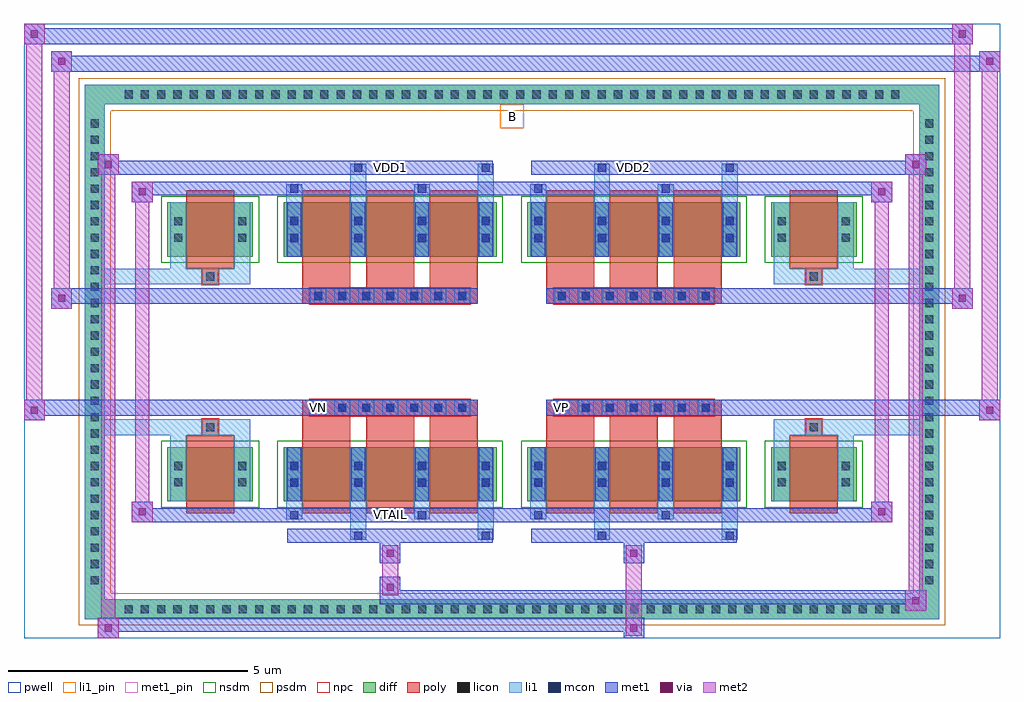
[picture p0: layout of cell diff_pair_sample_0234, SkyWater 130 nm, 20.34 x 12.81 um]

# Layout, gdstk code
import gdstk
lib = gdstk.Library(unit=1e-6, precision=5e-09)
def R(c, l, rs):  # rectangles x0, y0, x1, y1
    for r in rs: c.add(gdstk.rectangle(r[:2], r[2:], *l))
def A(c, l, x, y, w, h, nx, ny, dx, dy):  # array of equal rectangles
    R(c, l, [(x+i*dx, y+j*dy, x+i*dx+w, y+j*dy+h) for i in range(nx) for j in range(ny)])
def P(c, l, *ps):  # polygons
    for p in ps: c.add(gdstk.Polygon(p, *l))
pwell = (64, 44)
diff = (65, 20)
poly = (66, 20)
licon = (66, 44)
li1_pin = (67, 16)
li1 = (67, 20)
mcon = (67, 44)
met1_pin = (68, 16)
met1 = (68, 20)
via = (68, 44)
met2 = (69, 20)
nsdm = (93, 44)
psdm = (94, 20)
npc = (95, 20)

diff_pair_sample_0234 = lib.new_cell('diff_pair_sample_0234')
R(diff_pair_sample_0234, pwell, [(-10.17,-5.97,10.17,6.84), (-7.49,-4.16,-0.01,-0.8), (0.01,-4.16,7.49,-0.8), (-7.49,0.8,-0.01,4.16), (0.01,0.8,7.49,4.16)])
A(diff_pair_sample_0234, diff, -8.195, -5.57, 0.41, 0.41, 48, 2, 0.34, 10.73)
A(diff_pair_sample_0234, diff, -8.9, -4.965, 0.41, 0.41, 1, 29, 0, 0.34)
A(diff_pair_sample_0234, diff, 8.49, -4.965, 0.41, 0.41, 1, 29, 0, 0.34)
R(diff_pair_sample_0234, diff, [(-8.195,-5.57,8.195,-5.16), (-8.9,-4.965,-8.49,4.965), (8.49,-4.965,8.9,4.965), (-7.18,-3.115,-5.4,-1.985), (-4.76,-3.115,-0.32,-1.985), (0.32,-3.115,4.76,-1.985), (5.4,-3.115,7.18,-1.985), (-7.18,1.985,-5.4,3.115), (-4.76,1.985,-0.32,3.115), (0.32,1.985,4.76,3.115), (5.4,1.985,7.18,3.115), (-8.195,5.16,8.195,5.57)])
P(diff_pair_sample_0234, diff, [(8.9,5.57),(-8.9,5.57),(-8.9,-5.16),(-8.49,-5.16),(-8.49,5.16),(8.49,5.16),(8.49,-5.16),(-8.49,-5.16),(-8.9,-5.16),(-8.9,-5.57),(8.9,-5.57)])
A(diff_pair_sample_0234, poly, -4.37, -3.365, 1, 1.63, 3, 2, 1.33, 5.1)
A(diff_pair_sample_0234, poly, 0.71, -3.365, 1, 1.63, 3, 2, 1.33, 5.1)
A(diff_pair_sample_0234, poly, -4.37, -1.735, 1, 0.405, 3, 2, 1.33, 3.065)
A(diff_pair_sample_0234, poly, 0.71, -1.735, 1, 0.405, 3, 2, 1.33, 3.065)
A(diff_pair_sample_0234, poly, -4.205, -1.33, 0.33, 0.33, 7, 2, 0.5, 2.33)
A(diff_pair_sample_0234, poly, 0.875, -1.33, 0.33, 0.33, 7, 2, 0.5, 2.33)
R(diff_pair_sample_0234, poly, [(-6.79,-3.365,-5.79,-1.735), (5.79,-3.365,6.79,-1.735), (-6.455,-1.735,-6.125,-1.405), (-6.455,-1.735,-6.125,-1.405), (6.125,-1.735,6.455,-1.405), (6.125,-1.735,6.455,-1.405), (-4.37,-1.33,-0.71,-1), (0.71,-1.33,4.37,-1), (-4.37,1,-0.71,1.33), (0.71,1,4.37,1.33), (-6.455,1.405,-6.125,1.735), (-6.455,1.405,-6.125,1.735), (6.125,1.405,6.455,1.735), (6.125,1.405,6.455,1.735), (-6.79,1.735,-5.79,3.365), (5.79,1.735,6.79,3.365)])
A(diff_pair_sample_0234, licon, -8.075, -5.45, 0.17, 0.17, 48, 2, 0.34, 10.73)
A(diff_pair_sample_0234, licon, -8.78, -4.845, 0.17, 0.17, 1, 29, 0, 0.34)
A(diff_pair_sample_0234, licon, 8.61, -4.845, 0.17, 0.17, 1, 29, 0, 0.34)
A(diff_pair_sample_0234, licon, -4.62, -2.805, 0.17, 0.17, 4, 2, 1.33, 0.34)
A(diff_pair_sample_0234, licon, 0.46, -2.805, 0.17, 0.17, 4, 2, 1.33, 0.34)
A(diff_pair_sample_0234, licon, -4.125, -1.25, 0.17, 0.17, 7, 2, 0.5, 2.33)
A(diff_pair_sample_0234, licon, 0.955, -1.25, 0.17, 0.17, 7, 2, 0.5, 2.33)
A(diff_pair_sample_0234, licon, -4.62, 2.295, 0.17, 0.17, 4, 2, 1.33, 0.34)
A(diff_pair_sample_0234, licon, 0.46, 2.295, 0.17, 0.17, 4, 2, 1.33, 0.34)
R(diff_pair_sample_0234, licon, [(-7.04,-2.805,-6.87,-2.635), (-5.71,-2.805,-5.54,-2.635), (5.54,-2.805,5.71,-2.635), (6.87,-2.805,7.04,-2.635), (-7.04,-2.465,-6.87,-2.295), (-5.71,-2.465,-5.54,-2.295), (5.54,-2.465,5.71,-2.295), (6.87,-2.465,7.04,-2.295), (-6.375,-1.655,-6.205,-1.485), (6.205,-1.655,6.375,-1.485), (-6.375,1.485,-6.205,1.655), (6.205,1.485,6.375,1.655), (-7.04,2.295,-6.87,2.465), (-5.71,2.295,-5.54,2.465), (5.54,2.295,5.71,2.465), (6.87,2.295,7.04,2.465), (-7.04,2.635,-6.87,2.805), (-5.71,2.635,-5.54,2.805), (5.54,2.635,5.71,2.805), (6.87,2.635,7.04,2.805)])
R(diff_pair_sample_0234, li1_pin, [(-0.25,4.66,0.25,5.16)])
A(diff_pair_sample_0234, li1, -8.155, -5.53, 0.33, 0.33, 48, 2, 0.34, 10.73)
A(diff_pair_sample_0234, li1, -8.86, -4.925, 0.33, 0.33, 1, 29, 0, 0.34)
A(diff_pair_sample_0234, li1, 8.53, -4.925, 0.33, 0.33, 1, 29, 0, 0.34)
A(diff_pair_sample_0234, li1, -4.7, -3.115, 0.33, 1.13, 4, 2, 1.33, 5.1)
A(diff_pair_sample_0234, li1, 0.38, -3.115, 0.33, 1.13, 4, 2, 1.33, 5.1)
A(diff_pair_sample_0234, li1, -4.7, -2.885, 0.33, 0.33, 4, 2, 1.33, 0.34)
A(diff_pair_sample_0234, li1, 0.38, -2.885, 0.33, 0.33, 4, 2, 1.33, 0.34)
A(diff_pair_sample_0234, li1, -4.62, -2.815, 0.17, 0.17, 4, 2, 1.33, 0.36)
A(diff_pair_sample_0234, li1, -4.62, -2.815, 0.17, 0.53, 4, 2, 1.33, 5.1)
A(diff_pair_sample_0234, li1, 0.46, -2.815, 0.17, 0.17, 4, 2, 1.33, 0.36)
A(diff_pair_sample_0234, li1, 0.46, -2.815, 0.17, 0.53, 4, 2, 1.33, 5.1)
A(diff_pair_sample_0234, li1, -4.205, -1.33, 0.33, 0.33, 7, 2, 0.5, 2.33)
A(diff_pair_sample_0234, li1, 0.875, -1.33, 0.33, 0.33, 7, 2, 0.5, 2.33)
A(diff_pair_sample_0234, li1, -4.7, 2.215, 0.33, 0.33, 4, 2, 1.33, 0.34)
A(diff_pair_sample_0234, li1, 0.38, 2.215, 0.33, 0.33, 4, 2, 1.33, 0.34)
A(diff_pair_sample_0234, li1, -4.62, 2.285, 0.17, 0.17, 4, 2, 1.33, 0.36)
A(diff_pair_sample_0234, li1, 0.46, 2.285, 0.17, 0.17, 4, 2, 1.33, 0.36)
R(diff_pair_sample_0234, li1, [(-8.9,-5.57,-8.49,-5.16), (-8.9,-5.57,-8.49,-5.16), (-8.49,-5.57,8.49,-5.16), (8.49,-5.57,8.9,-5.16), (8.49,-5.57,8.9,-5.16), (-8.9,-5.16,-8.49,5.16), (8.49,-5.16,8.9,5.16), (-3.37,-3.92,-3.04,-3.115), (-3.29,-3.92,-3.12,-3.75), (-0.71,-3.92,-0.38,-3.115), (-0.63,-3.92,-0.46,-3.75), (1.71,-3.92,2.04,-3.115), (1.79,-3.92,1.96,-3.75), (4.37,-3.92,4.7,-3.115), (4.45,-3.92,4.62,-3.75), (-4.7,-3.49,-4.37,-3.115), (-4.62,-3.49,-4.45,-3.32), (-2.04,-3.49,-1.71,-3.115), (-1.96,-3.49,-1.79,-3.32), (0.38,-3.49,0.71,-3.115), (0.46,-3.49,0.63,-3.32), (3.04,-3.49,3.37,-3.115), (3.12,-3.49,3.29,-3.32), (-7.12,-3.115,-6.79,-1.985), (-5.79,-3.115,-5.46,-1.985), (5.46,-3.115,5.79,-1.985), (6.79,-3.115,7.12,-1.985), (-7.12,-2.885,-6.79,-2.555), (-5.79,-2.885,-5.46,-2.555), (5.46,-2.885,5.79,-2.555), (6.79,-2.885,7.12,-2.555), (-7.12,-2.545,-6.79,-2.215), (-5.79,-2.545,-5.46,-2.215), (5.46,-2.545,5.79,-2.215), (6.79,-2.545,7.12,-2.215), (-7.12,-1.985,-6.79,-1.405), (-5.79,-1.985,-5.46,-1.405), (5.46,-1.985,5.79,-1.405), (6.79,-1.985,7.12,-1.405), (-8.9,-1.735,-6.455,-1.405), (-7.12,-1.735,-6.455,-1.405), (-6.455,-1.735,-6.125,-1.405), (-6.125,-1.735,-5.46,-1.405), (5.46,-1.735,6.125,-1.405), (6.125,-1.735,6.455,-1.405), (6.125,-1.735,8.9,-1.405), (6.455,-1.735,7.12,-1.405), (-8.9,1.405,-6.455,1.735), (-7.12,1.405,-6.455,1.735), (-7.12,1.405,-6.79,1.985), (-6.455,1.405,-6.125,1.735), (-6.125,1.405,-5.46,1.735), (-5.79,1.405,-5.46,1.985), (5.46,1.405,6.125,1.735), (5.46,1.405,5.79,1.985), (6.125,1.405,6.455,1.735), (6.125,1.405,8.9,1.735), (6.455,1.405,7.12,1.735), (6.79,1.405,7.12,1.985), (-7.12,1.985,-6.79,3.115), (-5.79,1.985,-5.46,3.115), (5.46,1.985,5.79,3.115), (6.79,1.985,7.12,3.115), (-7.12,2.215,-6.79,2.545), (-5.79,2.215,-5.46,2.545), (5.46,2.215,5.79,2.545), (6.79,2.215,7.12,2.545), (-7.12,2.555,-6.79,2.885), (-5.79,2.555,-5.46,2.885), (5.46,2.555,5.79,2.885), (6.79,2.555,7.12,2.885), (-4.7,3.115,-4.37,3.49), (-3.37,3.115,-3.04,3.92), (-2.04,3.115,-1.71,3.49), (-0.71,3.115,-0.38,3.92), (0.38,3.115,0.71,3.49), (1.71,3.115,2.04,3.92), (3.04,3.115,3.37,3.49), (4.37,3.115,4.7,3.92), (-4.62,3.32,-4.45,3.49), (-1.96,3.32,-1.79,3.49), (0.46,3.32,0.63,3.49), (3.12,3.32,3.29,3.49), (-3.29,3.75,-3.12,3.92), (-0.63,3.75,-0.46,3.92), (1.79,3.75,1.96,3.92), (4.45,3.75,4.62,3.92), (-8.9,5.16,-8.49,5.57), (-8.9,5.16,-8.49,5.57), (-8.49,5.16,8.49,5.57), (8.49,5.16,8.9,5.57), (8.49,5.16,8.9,5.57)])
A(diff_pair_sample_0234, mcon, -4.62, -2.815, 0.17, 0.17, 4, 2, 1.33, 0.36)
A(diff_pair_sample_0234, mcon, 0.46, -2.815, 0.17, 0.17, 4, 2, 1.33, 0.36)
A(diff_pair_sample_0234, mcon, -4.125, -1.25, 0.17, 0.17, 7, 2, 0.5, 2.33)
A(diff_pair_sample_0234, mcon, 0.955, -1.25, 0.17, 0.17, 7, 2, 0.5, 2.33)
A(diff_pair_sample_0234, mcon, -4.62, 2.285, 0.17, 0.17, 4, 2, 1.33, 0.36)
A(diff_pair_sample_0234, mcon, 0.46, 2.285, 0.17, 0.17, 4, 2, 1.33, 0.36)
R(diff_pair_sample_0234, mcon, [(-3.29,-3.92,-3.12,-3.75), (-0.63,-3.92,-0.46,-3.75), (1.79,-3.92,1.96,-3.75), (4.45,-3.92,4.62,-3.75), (-4.62,-3.49,-4.45,-3.32), (-1.96,-3.49,-1.79,-3.32), (0.46,-3.49,0.63,-3.32), (3.12,-3.49,3.29,-3.32), (-4.62,3.32,-4.45,3.49), (-1.96,3.32,-1.79,3.49), (0.46,3.32,0.63,3.49), (3.12,3.32,3.29,3.49), (-3.29,3.75,-3.12,3.92), (-0.63,3.75,-0.46,3.92), (1.79,3.75,1.96,3.92), (4.45,3.75,4.62,3.92)])
R(diff_pair_sample_0234, met1_pin, [(-2.675,-3.53,-2.405,-3.26), (-4.175,-1.29,-3.905,-1.02), (0.905,-1.29,1.175,-1.02), (-2.675,3.71,-2.405,3.98), (2.405,3.71,2.675,3.98)])
A(diff_pair_sample_0234, met1, -4.68, -3.115, 0.29, 1.13, 4, 2, 1.33, 5.1)
A(diff_pair_sample_0234, met1, 0.4, -3.115, 0.29, 1.13, 4, 2, 1.33, 5.1)
A(diff_pair_sample_0234, met1, -4.68, -2.875, 0.29, 0.29, 4, 2, 1.33, 0.36)
A(diff_pair_sample_0234, met1, 0.4, -2.875, 0.29, 0.29, 4, 2, 1.33, 0.36)
A(diff_pair_sample_0234, met1, -4.185, -1.31, 0.29, 0.29, 7, 2, 0.5, 2.33)
A(diff_pair_sample_0234, met1, 0.895, -1.31, 0.29, 0.29, 7, 2, 0.5, 2.33)
A(diff_pair_sample_0234, met1, -4.68, 2.225, 0.29, 0.29, 4, 2, 1.33, 0.36)
A(diff_pair_sample_0234, met1, 0.4, 2.225, 0.29, 0.29, 4, 2, 1.33, 0.36)
R(diff_pair_sample_0234, met1, [(-8.63,-5.97,-8.2,-5.54), (2.325,-5.97,2.755,-5.54), (-8.63,-5.83,2.755,-5.54), (8.2,-5.4,8.63,-4.97), (-2.755,-5.26,8.63,-4.97), (-2.755,-5.12,-2.325,-4.69), (-2.755,-4.41,-2.325,-3.98), (2.325,-4.41,2.755,-3.98), (-4.68,-3.98,-0.4,-3.69), (-3.35,-3.98,-3.06,-3.69), (-0.69,-3.98,-0.4,-3.69), (0.4,-3.98,4.68,-3.69), (1.73,-3.98,2.02,-3.69), (4.39,-3.98,4.68,-3.69), (-7.92,-3.55,-7.49,-3.12), (-7.92,-3.55,-4.68,-3.26), (-4.68,-3.55,-4.39,-3.26), (-4.68,-3.55,-0.4,-3.26), (-2.02,-3.55,-1.73,-3.26), (-0.4,-3.55,0.4,-3.26), (0.4,-3.55,0.69,-3.26), (0.4,-3.55,4.68,-3.26), (3.06,-3.55,3.35,-3.26), (4.68,-3.55,7.92,-3.26), (7.49,-3.55,7.92,-3.12), (-10.17,-1.43,-9.74,-1), (9.74,-1.43,10.17,-1), (-10.17,-1.33,-0.71,-1), (-4.37,-1.33,-0.71,-1), (0.71,-1.33,4.37,-1), (0.71,-1.33,10.17,-1), (-9.6,0.9,-9.17,1.33), (9.17,0.9,9.6,1.33), (-9.6,1,-4.37,1.33), (-4.37,1,-0.71,1.33), (0.71,1,4.37,1.33), (4.37,1,9.6,1.33), (-7.92,3.12,-7.49,3.55), (7.49,3.12,7.92,3.55), (-7.92,3.26,-4.68,3.55), (-4.68,3.26,-4.39,3.55), (-4.68,3.26,-0.4,3.55), (-2.02,3.26,-1.73,3.55), (-0.4,3.26,0.4,3.55), (0.4,3.26,0.69,3.55), (0.4,3.26,4.68,3.55), (3.06,3.26,3.35,3.55), (4.68,3.26,7.92,3.55), (-8.63,3.69,-8.2,4.12), (-8.63,3.69,-4.68,3.98), (-4.68,3.69,-0.4,3.98), (-3.35,3.69,-3.06,3.98), (-0.69,3.69,-0.4,3.98), (0.4,3.69,4.68,3.98), (1.73,3.69,2.02,3.98), (4.39,3.69,4.68,3.98), (4.68,3.69,8.63,3.98), (8.2,3.69,8.63,4.12), (-9.6,5.84,-9.17,6.27), (-9.6,5.84,-7.49,6.17), (-7.49,5.84,7.49,6.17), (7.49,5.84,10.17,6.17), (9.74,5.84,10.17,6.27), (-10.17,6.41,-9.74,6.84), (-10.17,6.41,-7.49,6.74), (-7.49,6.41,7.49,6.74), (7.49,6.41,9.6,6.74), (9.17,6.41,9.6,6.84)])
R(diff_pair_sample_0234, via, [(-8.49,-5.83,-8.34,-5.68), (2.465,-5.83,2.615,-5.68), (8.34,-5.26,8.49,-5.11), (-2.615,-4.98,-2.465,-4.83), (-2.615,-4.27,-2.465,-4.12), (2.465,-4.27,2.615,-4.12), (-7.78,-3.41,-7.63,-3.26), (7.63,-3.41,7.78,-3.26), (-10.03,-1.29,-9.88,-1.14), (9.88,-1.29,10.03,-1.14), (-9.46,1.04,-9.31,1.19), (9.31,1.04,9.46,1.19), (-7.78,3.26,-7.63,3.41), (7.63,3.26,7.78,3.41), (-8.49,3.83,-8.34,3.98), (8.34,3.83,8.49,3.98), (-9.46,5.98,-9.31,6.13), (9.88,5.98,10.03,6.13), (-10.03,6.55,-9.88,6.7), (9.31,6.55,9.46,6.7)])
R(diff_pair_sample_0234, met2, [(-8.63,-5.97,-8.2,-5.54), (-8.56,-5.97,-8.27,4.12), (-8.27,-5.97,-8.2,-5.54), (-8.58,-5.92,-8.25,-5.59), (2.375,-5.92,2.705,-5.59), (2.375,-5.59,2.705,-4.36), (8.2,-5.4,8.63,-4.97), (8.27,-5.4,8.56,4.12), (8.56,-5.4,8.63,-4.97), (8.25,-5.35,8.58,-5.02), (-2.705,-5.07,-2.375,-4.74), (-2.705,-4.74,-2.375,-4.36), (-2.705,-4.36,-2.375,-4.03), (2.375,-4.36,2.705,-4.03), (-7.92,-3.55,-7.49,-3.12), (-7.85,-3.55,-7.56,3.55), (-7.56,-3.55,-7.49,-3.12), (7.49,-3.55,7.92,-3.12), (7.56,-3.55,7.85,3.55), (7.85,-3.55,7.92,-3.12), (-7.87,-3.5,-7.54,-3.17), (7.54,-3.5,7.87,-3.17), (-10.17,-1.43,-9.74,-1), (-10.12,-1.43,-9.79,6.84), (-9.79,-1.43,-9.74,-1), (9.74,-1.43,10.17,-1), (9.79,-1.43,10.12,6.27), (10.12,-1.43,10.17,-1), (-10.12,-1.38,-9.79,-1.05), (9.79,-1.38,10.12,-1.05), (-9.6,0.9,-9.17,1.33), (-9.55,0.9,-9.22,6.27), (-9.22,0.9,-9.17,1.33), (9.17,0.9,9.6,1.33), (9.22,0.9,9.55,6.84), (9.55,0.9,9.6,1.33), (-9.55,0.95,-9.22,1.28), (9.22,0.95,9.55,1.28), (-7.92,3.12,-7.49,3.55), (-7.56,3.12,-7.49,3.55), (7.49,3.12,7.92,3.55), (7.85,3.12,7.92,3.55), (-7.87,3.17,-7.54,3.5), (7.54,3.17,7.87,3.5), (-8.63,3.69,-8.2,4.12), (-8.27,3.69,-8.2,4.12), (8.2,3.69,8.63,4.12), (8.56,3.69,8.63,4.12), (-8.58,3.74,-8.25,4.07), (8.25,3.74,8.58,4.07), (-9.6,5.84,-9.17,6.27), (-9.22,5.84,-9.17,6.27), (9.74,5.84,10.17,6.27), (10.12,5.84,10.17,6.27), (-9.55,5.89,-9.22,6.22), (9.79,5.89,10.12,6.22), (-10.17,6.41,-9.74,6.84), (-9.79,6.41,-9.74,6.84), (9.17,6.41,9.6,6.84), (9.55,6.41,9.6,6.84), (-10.12,6.46,-9.79,6.79), (9.22,6.46,9.55,6.79)])
R(diff_pair_sample_0234, nsdm, [(-7.31,-3.245,-5.27,-1.855), (-4.89,-3.245,-0.19,-1.855), (0.19,-3.245,4.89,-1.855), (5.27,-3.245,7.31,-1.855), (-7.31,1.855,-5.27,3.245), (-4.89,1.855,-0.19,3.245), (0.19,1.855,4.89,3.245), (5.27,1.855,7.31,3.245)])
P(diff_pair_sample_0234, psdm, [(9.03,5.7),(-9.03,5.7),(-9.03,-5.03),(-8.36,-5.03),(-8.36,5.03),(8.36,5.03),(8.36,-5.03),(-8.36,-5.03),(-9.03,-5.03),(-9.03,-5.7),(9.03,-5.7)])
A(diff_pair_sample_0234, npc, -4.225, -1.35, 0.37, 0.37, 7, 2, 0.5, 2.33)
A(diff_pair_sample_0234, npc, 0.855, -1.35, 0.37, 0.37, 7, 2, 0.5, 2.33)
R(diff_pair_sample_0234, npc, [(-6.475,-1.755,-6.105,-1.385), (6.105,-1.755,6.475,-1.385), (-4.225,-1.35,-3.355,-0.98), (-4.225,-1.35,-3.355,-0.98), (-3.725,-1.35,-2.855,-0.98), (-3.725,-1.35,-2.855,-0.98), (-3.225,-1.35,-2.355,-0.98), (-3.225,-1.35,-2.355,-0.98), (-2.725,-1.35,-1.855,-0.98), (-2.725,-1.35,-1.855,-0.98), (-2.225,-1.35,-1.355,-0.98), (-2.225,-1.35,-1.355,-0.98), (-1.725,-1.35,-0.855,-0.98), (-1.725,-1.35,-0.855,-0.98), (0.855,-1.35,1.725,-0.98), (0.855,-1.35,1.725,-0.98), (1.355,-1.35,2.225,-0.98), (1.355,-1.35,2.225,-0.98), (1.855,-1.35,2.725,-0.98), (1.855,-1.35,2.725,-0.98), (2.355,-1.35,3.225,-0.98), (2.355,-1.35,3.225,-0.98), (2.855,-1.35,3.725,-0.98), (2.855,-1.35,3.725,-0.98), (3.355,-1.35,4.225,-0.98), (3.355,-1.35,4.225,-0.98), (-4.225,0.98,-3.355,1.35), (-4.225,0.98,-3.355,1.35), (-3.725,0.98,-2.855,1.35), (-3.725,0.98,-2.855,1.35), (-3.225,0.98,-2.355,1.35), (-3.225,0.98,-2.355,1.35), (-2.725,0.98,-1.855,1.35), (-2.725,0.98,-1.855,1.35), (-2.225,0.98,-1.355,1.35), (-2.225,0.98,-1.355,1.35), (-1.725,0.98,-0.855,1.35), (-1.725,0.98,-0.855,1.35), (0.855,0.98,1.725,1.35), (0.855,0.98,1.725,1.35), (1.355,0.98,2.225,1.35), (1.355,0.98,2.225,1.35), (1.855,0.98,2.725,1.35), (1.855,0.98,2.725,1.35), (2.355,0.98,3.225,1.35), (2.355,0.98,3.225,1.35), (2.855,0.98,3.725,1.35), (2.855,0.98,3.725,1.35), (3.355,0.98,4.225,1.35), (3.355,0.98,4.225,1.35), (-6.475,1.385,-6.105,1.755), (6.105,1.385,6.475,1.755)])
diff_pair_sample_0234.add(gdstk.Label('VTAIL', (-2.54,-3.395), layer=68, texttype=5))
diff_pair_sample_0234.add(gdstk.Label('VN', (-4.04,-1.155), layer=68, texttype=5))
diff_pair_sample_0234.add(gdstk.Label('VP', (1.04,-1.155), layer=68, texttype=5))
diff_pair_sample_0234.add(gdstk.Label('B', (0,4.91), layer=67, texttype=5))
diff_pair_sample_0234.add(gdstk.Label('VDD2', (2.54,3.845), layer=68, texttype=5))
diff_pair_sample_0234.add(gdstk.Label('VDD1', (-2.54,3.845), layer=68, texttype=5))

lib.write_gds('diff_pair_sample_0234.gds')
